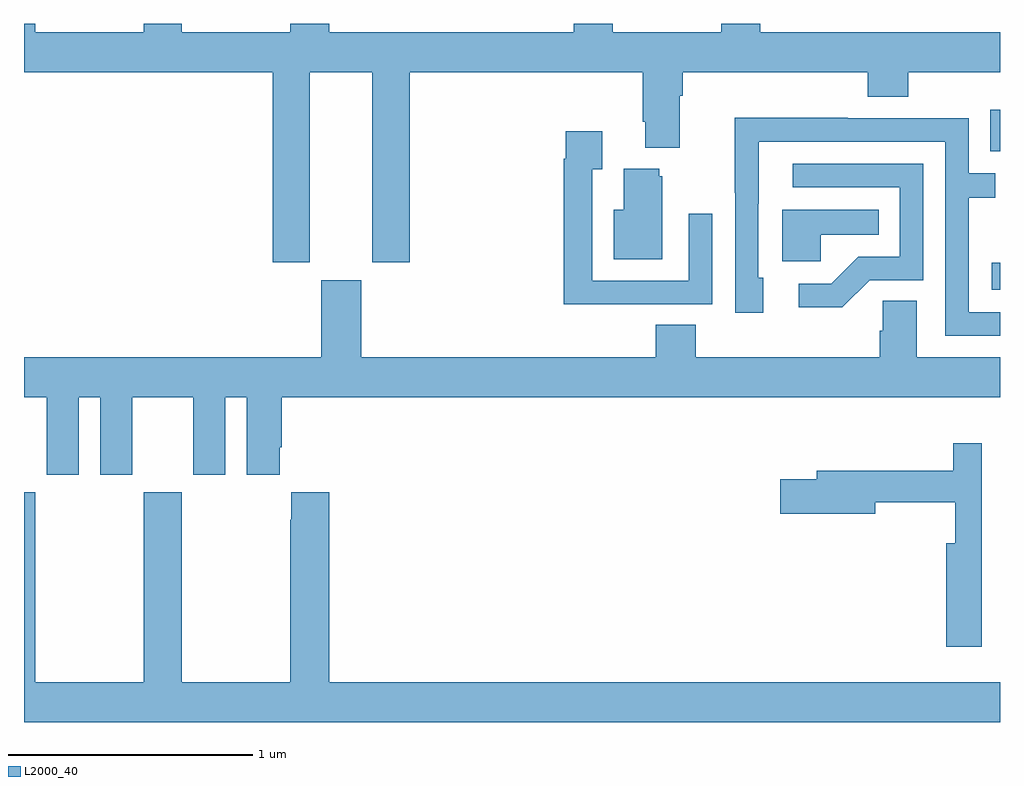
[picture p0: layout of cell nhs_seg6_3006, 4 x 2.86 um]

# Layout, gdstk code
import gdstk
lib = gdstk.Library(unit=1e-6, precision=1e-09)
def R(c, l, rs):  # rectangles x0, y0, x1, y1
    for r in rs: c.add(gdstk.rectangle(r[:2], r[2:], *l))
def P(c, l, *ps):  # polygons
    for p in ps: c.add(gdstk.Polygon(p, *l))
L2000_40 = (2000, 40)

nhs_seg6_3006 = lib.new_cell('nhs_seg6_3006')
R(nhs_seg6_3006, L2000_40, [(290.967,982.409,291,982.519), (290.961,982.977,291,983.146)])
P(nhs_seg6_3006, L2000_40, [(288.172,983.3),(288.428,983.3),(288.428,982.521),(288.581,982.521),(288.581,983.3),(289.535,983.3),(289.535,983.098),(289.547,983.098),(289.547,982.991),(289.687,982.991),(289.687,983.204),(289.7,983.204),(289.7,983.3),(290.459,983.3),(290.459,983.201),(290.624,983.201),(290.624,983.3),(291,983.3),(291,983.464),(290.018,983.464),(290.018,983.5),(289.858,983.5),(289.858,983.464),(289.413,983.464),(289.413,983.5),(289.253,983.5),(289.253,983.464),(288.251,983.464),(288.251,983.5),(288.091,983.5),(288.091,983.464),(287.646,983.464),(287.646,983.5),(287.491,983.5),(287.491,983.464),(287.046,983.464),(287.046,983.5),(287,983.5),(287,983.3),(288.02,983.3),(288.02,982.521),(288.172,982.521)],
  [(291,982.317),(290.871,982.317),(290.871,982.786),(290.981,982.786),(290.981,982.887),(290.871,982.887),(290.871,983.112),(290.375,983.112),(290.375,983.114),(289.912,983.114),(289.912,982.807),(289.914,982.807),(289.914,982.314),(290.029,982.314),(290.029,982.458),(290.01,982.458),(290.01,982.762),(290.011,982.762),(290.011,983.016),(290.775,983.016),(290.775,982.221),(291,982.221)],
  [(289.505,982.35),(289.821,982.35),(289.821,982.72),(289.725,982.72),(289.725,982.446),(289.329,982.446),(289.329,982.903),(289.369,982.903),(289.369,983.059),(289.221,983.059),(289.221,982.946),(289.213,982.946),(289.213,982.349),(289.505,982.349)],
  [(290.466,982.449),(290.685,982.449),(290.685,982.926),(290.151,982.926),(290.151,982.83),(290.589,982.83),(290.589,982.545),(290.42,982.545),(290.309,982.434),(290.175,982.434),(290.175,982.337),(290.353,982.337)],
  [(289.615,982.875),(289.604,982.875),(289.604,982.906),(289.457,982.906),(289.457,982.738),(289.418,982.738),(289.418,982.535),(289.615,982.535)],
  [(290.265,982.634),(290.504,982.634),(290.504,982.738),(290.108,982.738),(290.108,982.526),(290.265,982.526)],
  [(287,981.968),(287.093,981.968),(287.093,981.651),(287.224,981.651),(287.224,981.968),(287.312,981.968),(287.312,981.651),(287.443,981.651),(287.443,981.968),(287.693,981.968),(287.693,981.651),(287.824,981.651),(287.824,981.968),(287.912,981.968),(287.912,981.651),(288.049,981.651),(288.049,981.763),(288.056,981.763),(288.056,981.968),(291,981.968),(291,982.132),(290.659,982.132),(290.659,982.364),(290.52,982.364),(290.52,982.241),(290.507,982.241),(290.507,982.132),(289.754,982.132),(289.754,982.265),(289.589,982.265),(289.589,982.132),(288.382,982.132),(288.382,982.449),(288.218,982.449),(288.218,982.132),(287,982.132)],
  [(290.926,981.266),(290.925,981.266),(290.925,981.781),(290.809,981.781),(290.809,981.667),(290.249,981.667),(290.249,981.633),(290.1,981.633),(290.1,981.491),(290.488,981.491),(290.488,981.538),(290.817,981.538),(290.817,981.37),(290.78,981.37),(290.78,980.946),(290.926,980.946)],
  [(291,980.8),(288.251,980.8),(288.251,981.58),(288.095,981.58),(288.095,981.467),(288.091,981.467),(288.091,980.8),(287.646,980.8),(287.646,981.58),(287.491,981.58),(287.491,980.8),(287.046,980.8),(287.046,981.58),(287,981.58),(287,980.636),(291,980.636)])

lib.write_gds('nhs_seg6_3006.gds')
